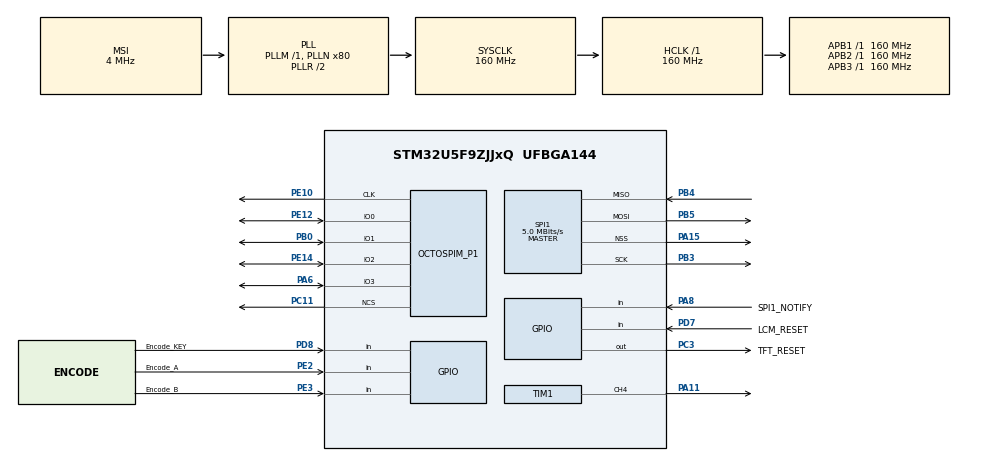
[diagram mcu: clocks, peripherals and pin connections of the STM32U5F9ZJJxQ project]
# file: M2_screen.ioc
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CORTEX_M33_NS.userName=CORTEX_M33
DMA2D.ColorMode=DMA2D_OUTPUT_RGB565
DMA2D.InputAlphaForeground=0xFF
DMA2D.InputColorModeForeground=DMA2D_INPUT_RGB565
DMA2D.Mode=DMA2D_M2M
DSIHOST.AutomaticClockLaneControl=DSI_AUTO_CLK_LANE_CTRL_DISABLE
DSIHOST.BTA_FlowControl=DSI_FLOW_CONTROL_BTA
DSIHOST.ClockLaneHS2LPTime=11
DSIHOST.ClockLaneLP2HSTime=40
DSIHOST.DataLaneHS2LPTime=12
DSIHOST.DataLaneLP2HSTime=23
DSIHOST.FrameBTAAcknowledgeEnable=DSI_FBTAA_ENABLE
DSIHOST.HorizontalBackPorch=8
DSIHOST.HorizontalLine=1300
DSIHOST.HorizontalSyncActive=4
DSIHOST.LPCommandEnable=DSI_LP_COMMAND_DISABLE
DSIHOST.LPHorizontalBackPorchEnable=DSI_LP_HBP_ENABLE
DSIHOST.LPHorizontalFrontPorchEnable=DSI_LP_HFP_ENABLE
DSIHOST.LPVerticalActiveEnable=DSI_LP_VACT_ENABLE
DSIHOST.LPVerticalBackPorchEnable=DSI_LP_VBP_ENABLE
DSIHOST.LPVerticalFrontPorchEnable=DSI_LP_VFP_ENABLE
DSIHOST.LPVerticalSyncActiveEnable=DSI_LP_VSYNC_ENABLE
DSIHOST.Mode=DSI_VID_MODE_NB_PULSES
DSIHOST.NullPacketSize=4
DSIHOST.PHYFrequencyRange=DSI_DPHY_FRANGE_450MHZ_510MHZ
DSIHOST.PLLChargePump=DSI_PLL_CHARGE_PUMP_2000HZ_4400HZ
DSIHOST.PLLTuning=DSI_PLL_LOOP_FILTER_2000HZ_4400HZ
DSIHOST.PLLVCORange=DSI_DPHY_VCO_FRANGE_800MHZ_1GHZ
DSIHOST.PacketSize=400
DSIHOST.StopWaitTime=7
DSIHOST.VerticalActive=402
DSIHOST.VerticalBackPorch=4
DSIHOST.VerticalFrontPorch=4
DSIHOST.VerticalSyncActive=2
DSI_CKN.Mode=DSIHost_Video
DSI_CKN.Signal=DSIHOST_CKN
DSI_CKP.Mode=DSIHost_Video
DSI_CKP.Signal=DSIHOST_CKP
DSI_D0N.Mode=DSIHost_Video
DSI_D0N.Signal=DSIHOST_D0N
DSI_D0P.Mode=DSIHost_Video
DSI_D0P.Signal=DSIHOST_D0P
DSI_D1N.Mode=DSIHost_Video
DSI_D1N.Signal=DSIHOST_D1N
DSI_D1P.Mode=DSIHost_Video
DSI_D1P.Signal=DSIHOST_D1P
LTDC.ActiveH=400
LTDC.ActiveW=400
LTDC.Alpha_L0=0xFF
LTDC.FBStartAdress_L0=0
LTDC.HBP=4
LTDC.HFP=4
LTDC.HSPolarity=LTDC_HSPOLARITY_AH
LTDC.HSync=1
LTDC.ImageHeight_L0=LCD_HEIGHT
LTDC.ImageWidth_L0=LCD_WIDTH
LTDC.Layers=0
LTDC.PCPolarity=LTDC_PCPOLARITY_IPC
LTDC.PixelFormat_L0=LTDC_PIXEL_FORMAT_RGB565
LTDC.VBP=2
LTDC.VFP=4
LTDC.VSPolarity=LTDC_VSPOLARITY_AH
LTDC.VSync=2
LTDC.WindowX1_L0=LCD_WIDTH
LTDC.WindowY1_L0=LCD_HEIGHT
Mcu.Family=STM32U5
Mcu.Name=STM32U5F9ZJJxQ
Mcu.Package=UFBGA144
Mcu.UserConstants=VFP,8;VSYNC,4;HFP,16;LCD_WIDTH,400;VACT,400;VBP,4;HBP,10;LCD_HEIGHT,400
NVIC.DMA2D_IRQn=true\:0\:0\:true\:false\:true\:true\:true\:true
NVIC.DSI_IRQn=true\:0\:0\:false\:false\:true\:true\:true\:true
NVIC.LTDC_ER_IRQn=true\:0\:0\:true\:false\:true\:true\:true\:true
NVIC.PriorityGroup=NVIC_PRIORITYGROUP_4
PA11.Signal=S_TIM1_CH4
PA13\ (JTMS/SWDIO).Mode=Serial_Wire
PA13\ (JTMS/SWDIO).Signal=DEBUG_JTMS-SWDIO
PA14\ (JTCK/SWCLK).Mode=Serial_Wire
PA14\ (JTCK/SWCLK).Signal=DEBUG_JTCK-SWCLK
PA15\ (JTDI).Mode=NSS_Signal_Hard_Output
PA15\ (JTDI).Signal=SPI1_NSS
PA6.Mode=OCTOSPI1_IOL_Port1L
PA6.Signal=OCTOSPIM_P1_IO3
PA8.GPIO_Label=SPI1_NOTIFY
PA8.Signal=GPIO_Input
PB0.Mode=OCTOSPI1_IOL_Port1L
PB0.Signal=OCTOSPIM_P1_IO1
PB3\ (JTDO/TRACESWO).Mode=Full_Duplex_Master
PB3\ (JTDO/TRACESWO).Signal=SPI1_SCK
PB4\ (NJTRST).Mode=Full_Duplex_Master
PB4\ (NJTRST).Signal=SPI1_MISO
PB5.Mode=Full_Duplex_Master
PB5.Signal=SPI1_MOSI
PC11.Mode=OCTOSPI1_Port1_NCS
PC11.Signal=OCTOSPIM_P1_NCS
PC3.GPIO_Label=TFT_RESET
PC3.GPIO_PuPd=GPIO_PULLUP
PC3.Signal=GPIO_Output
PD7.GPIO_Label=LCM_RESET
PD7.Signal=GPIO_Input
PD8.GPIO_Label=Encode_KEY
PD8.GPIO_PuPd=GPIO_PULLUP
PD8.Signal=GPIO_Input
PE10.Mode=O1_P1_CLK
PE10.Signal=OCTOSPIM_P1_CLK
PE12.Mode=OCTOSPI1_IOL_Port1L
PE12.Signal=OCTOSPIM_P1_IO0
PE14.Mode=OCTOSPI1_IOL_Port1L
PE14.Signal=OCTOSPIM_P1_IO2
PE2.GPIO_Label=Encode_A
PE2.Signal=GPIO_Input
PE3.GPIO_Label=Encode_B
PE3.Signal=GPIO_Input
PH0-OSC_IN\ (PH0).Mode=HSE-External-Oscillator
PH0-OSC_IN\ (PH0).Signal=RCC_OSC_IN
PH1-OSC_OUT\ (PH1).Mode=HSE-External-Oscillator
PH1-OSC_OUT\ (PH1).Signal=RCC_OSC_OUT
ProjectManager.HeapSize=0x400
ProjectManager.StackSize=0x800
ProjectManager.TargetToolchain=STM32CubeIDE
RCC.ADCFreq_Value=16000000
RCC.AHBFreq_Value=160000000
RCC.APB1Freq_Value=160000000
RCC.APB1TimFreq_Value=160000000
RCC.APB2Freq_Value=160000000
RCC.APB2TimFreq_Value=160000000
RCC.APB3Freq_Value=160000000
RCC.CortexFreq_Value=160000000
RCC.DSICLockSelection=RCC_DSICLKSOURCE_PLL3
RCC.EPOD_VALUE=4000000
RCC.HCLKFreq_Value=160000000
RCC.HSE_VALUE=10000000
RCC.HSI48_VALUE=48000000
RCC.HSI_VALUE=16000000
RCC.LSE_VALUE=32768
RCC.LSIDIV_VALUE=32000
RCC.MSI_VALUE=4000000
RCC.PLL2FRACN=0
RCC.PLL2M=2
RCC.PLL2N=100
RCC.PLL2R=50
RCC.PLL2Source=RCC_PLLSOURCE_HSE
RCC.PLL3FRACN=0
RCC.PLL3M=2
RCC.PLL3N=100
RCC.PLL3P=8
RCC.PLL3R=83
RCC.PLL3Source=RCC_PLLSOURCE_HSE
RCC.PLLDSIIDF=DSI_PLL_IN_DIV2
RCC.PLLDSINDIV=100
RCC.PLLDSIODF=DSI_PLL_OUT_DIV2
RCC.PLLFRACN=0
RCC.PLLN=80
RCC.SYSCLKFreq_VALUE=160000000
RCC.SYSCLKSource=RCC_SYSCLKSOURCE_PLLCLK
RCC.VCOOutputFreq_Value=320000000
SH.S_TIM1_CH4.0=TIM1_CH4,PWM Generation4 CH4
SPI1.BaudRatePrescaler=SPI_BAUDRATEPRESCALER_32
SPI1.CalculateBaudRate=5.0 MBits/s
SPI1.DataSize=SPI_DATASIZE_8BIT
SPI1.Direction=SPI_DIRECTION_2LINES
SPI1.Mode=SPI_MODE_MASTER
SPI1.VirtualNSS=VM_NSSHARD
SPI1.VirtualType=VM_MASTER
TIM1.Channel-PWM\ Generation4\ CH4=TIM_CHANNEL_4
TIM1.PeriodNoDither=199
TIM1.Prescaler=199
TIM1.PulseNoDither_4=0
TIM2.Prescaler=39999
TIM6.Prescaler=159
TIM7.Prescaler=159
VP_DCACHE1_VS_DCACHE.Mode=DCACHE_Activate
VP_DMA2D_VS_DMA2D.Mode=DMA2D_Activate
VP_ICACHE_VS_ICACHE.Mode=DirectMappedCache
VP_LPBAMQUEUE_VS_QUEUE.Mode=QUEUEMODE
VP_LPBAM_VS_SIG1.Mode=SmartRun
VP_LPBAM_VS_SIG4.Mode=LPDMA1
VP_LTDC_DSIMode.Mode=RGB888
VP_MEMORYMAP_VS_MEMORYMAP.Mode=CurAppReg
VP_OCTOSPI1_VS_quad.Mode=quad_mode
VP_PWR_VS_SECSignals.Mode=Security/Privilege
VP_TIM1_VS_ClockSourceINT.Mode=Internal
VP_TIM2_VS_ClockSourceINT.Mode=Internal
VP_TIM6_VS_ClockSourceINT.Mode=Enable_Timer
VP_TIM7_VS_ClockSourceINT.Mode=Enable_Timer
board=custom

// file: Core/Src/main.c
/* USER CODE BEGIN Header */
/**
  ******************************************************************************
  * @file           : main.c
  * @brief          : Main program body
  ******************************************************************************
  * @attention
  *
  * Copyright (c) 2025 STMicroelectronics.
  * All rights reserved.
  *
  * This software is licensed under terms that can be found in the LICENSE file
  * in the root directory of this software component.
  * If no LICENSE file comes with this software, it is provided AS-IS.
  *
  ******************************************************************************
  */
/* USER CODE END Header */
#include "main.h"
#include "dcache.h"
#include "dma2d.h"
#include "dsihost.h"
#include "icache.h"
#include "ltdc.h"
#include "memorymap.h"
#include "octospi.h"
#include "spi.h"
#include "tim.h"
#include "gpio.h"

/* USER CODE BEGIN Includes */
#include "encoder.h"
#include "TFT.h"
#include "lvgl/lvgl.h"
#include "lv_port_disp.h"
#include "lv_port_indev.h"
#include "M2_ui/ui.h"
#include "M2_ui/ui_app.h"
/* USER CODE END Includes */

/* USER CODE BEGIN PD */
//#define TFT_TEST
/* USER CODE END PD */

void SystemClock_Config(void);

int main(void)
{

  /* MCU Configuration--------------------------------------------------------*/

  /* Reset of all peripherals, Initializes the Flash interface and the Systick. */
  HAL_Init();

  /* Configure the system clock */
  SystemClock_Config();

  /* Initialize all configured peripherals */
  MX_GPIO_Init();
  MX_DMA2D_Init();
  MX_DSIHOST_DSI_Init();
  MX_ICACHE_Init();
  MX_LTDC_Init();
  MX_OCTOSPI1_Init();
  MX_SPI1_Init();
  MX_DCACHE1_Init();
  MX_TIM7_Init();
  MX_TIM1_Init();
  MX_TIM2_Init();
  MX_TIM6_Init();
  /* USER CODE BEGIN 2 */

  tft_initialize();

#ifdef TFT_TEST
  uint8_t test_step = 0;
  tft_fill(TFT_COLOR_RED);
  check_encoder();
  enc_get_moves();
#else
    // init lvgl
    lv_init();

    // create default group
    lv_group_t * g = lv_group_create();
    lv_group_set_default(g);

    // init display
    tft_initialize();
    lv_port_disp_init();

    // init ui
    ui_init();

    // init encoder device and get encoder handle
    lv_indev_t * encoder_indev = lv_port_indev_init();

    // add encoder to main group
    lv_indev_set_group(encoder_indev, lv_group_get_default());

    // start ui app
    ui_app_startup(encoder_indev);

    // use Timer 2 for screen update scheduling
    TIM2->EGR = TIM_EGR_UG;
    TIM2->CR1 = TIM_CR1_CEN;
#endif
  /* USER CODE END 2 */

  /* Infinite loop */
  /* USER CODE BEGIN WHILE */
  while (1)
  {
      check_encoder();
#ifndef TFT_TEST
      if (TIM2->SR & TIM_SR_UIF)
      {
          uint32_t time_till_next = lv_timer_handler();
          if (time_till_next)
          {
              TIM2->ARR = time_till_next*4;
              TIM2->CNT = 0;
              TIM2->SR = 0; // clear flag
          }
      }
#else
      int8_t encoder = enc_get_moves();
      if (encoder)
      {
          if (encoder < 0)
          {
              if (test_step > 0)
              {
                  test_step--;
              }
              else
              {
                  test_step = 8;
              }
          }
          else if (test_step >= 8)
          {
              test_step = 0;
          }
          else
          {
              test_step++;
          }
          switch (test_step)
          {
          case 0:
              tft_fill(TFT_COLOR_BLACK);
              break;
          case 1:
              //tft_set_image_rgb888(0, 0, 400, 400, gImage_400400_pu);
              //tft_set_image_rgb888(0, 0, 400, 400, gImage_400400_stop);
              //tft_set_image_rgb888(50, 50, 320, 240, image_320x240_pic1_RGB888);
              break;
          case 2:
              tft_fill(TFT_COLOR_RED);
              break;
          case 3:
              tft_fill(TFT_COLOR_GREEN);
              break;
          case 4:
              tft_fill(TFT_COLOR_BLUE);
              break;
          case 5:
              tft_fill(TFT_COLOR_CYAN);
              break;
          case 6:
              tft_fill(TFT_COLOR_MAGENTA);
              break;
          case 7:
              tft_fill(TFT_COLOR_YELLOW);
              break;
          case 8:
              tft_fill(TFT_COLOR_ORANGE);
              break;
          }
      }
#endif

    /* USER CODE END WHILE */

  }
}

void SystemClock_Config(void)
{
  RCC_OscInitTypeDef RCC_OscInitStruct = {0};
  RCC_ClkInitTypeDef RCC_ClkInitStruct = {0};

  /** Configure the main internal regulator output voltage
  */
  if (HAL_PWREx_ControlVoltageScaling(PWR_REGULATOR_VOLTAGE_SCALE1) != HAL_OK)
  {
    Error_Handler();
  }

  /** Initializes the CPU, AHB and APB buses clocks
  */
  RCC_OscInitStruct.OscillatorType = RCC_OSCILLATORTYPE_HSE|RCC_OSCILLATORTYPE_MSI;
  RCC_OscInitStruct.HSEState = RCC_HSE_ON;
  RCC_OscInitStruct.MSIState = RCC_MSI_ON;
  RCC_OscInitStruct.MSICalibrationValue = RCC_MSICALIBRATION_DEFAULT;
  RCC_OscInitStruct.MSIClockRange = RCC_MSIRANGE_4;
  RCC_OscInitStruct.PLL.PLLState = RCC_PLL_ON;
  RCC_OscInitStruct.PLL.PLLSource = RCC_PLLSOURCE_MSI;
  RCC_OscInitStruct.PLL.PLLMBOOST = RCC_PLLMBOOST_DIV1;
  RCC_OscInitStruct.PLL.PLLM = 1;
  RCC_OscInitStruct.PLL.PLLN = 80;
  RCC_OscInitStruct.PLL.PLLP = 2;
  RCC_OscInitStruct.PLL.PLLQ = 2;
  RCC_OscInitStruct.PLL.PLLR = 2;
  RCC_OscInitStruct.PLL.PLLRGE = RCC_PLLVCIRANGE_0;
  RCC_OscInitStruct.PLL.PLLFRACN = 0;
  if (HAL_RCC_OscConfig(&RCC_OscInitStruct) != HAL_OK)
  {
    Error_Handler();
  }

  /** Initializes the CPU, AHB and APB buses clocks
  */
  RCC_ClkInitStruct.ClockType = RCC_CLOCKTYPE_HCLK|RCC_CLOCKTYPE_SYSCLK
                              |RCC_CLOCKTYPE_PCLK1|RCC_CLOCKTYPE_PCLK2
                              |RCC_CLOCKTYPE_PCLK3;
  RCC_ClkInitStruct.SYSCLKSource = RCC_SYSCLKSOURCE_PLLCLK;
  RCC_ClkInitStruct.AHBCLKDivider = RCC_SYSCLK_DIV1;
  RCC_ClkInitStruct.APB1CLKDivider = RCC_HCLK_DIV1;
  RCC_ClkInitStruct.APB2CLKDivider = RCC_HCLK_DIV1;
  RCC_ClkInitStruct.APB3CLKDivider = RCC_HCLK_DIV1;

  if (HAL_RCC_ClockConfig(&RCC_ClkInitStruct, FLASH_LATENCY_4) != HAL_OK)
  {
    Error_Handler();
  }
}

void Error_Handler(void)
{
  __disable_irq();
  while (1)
  {
  }
}
